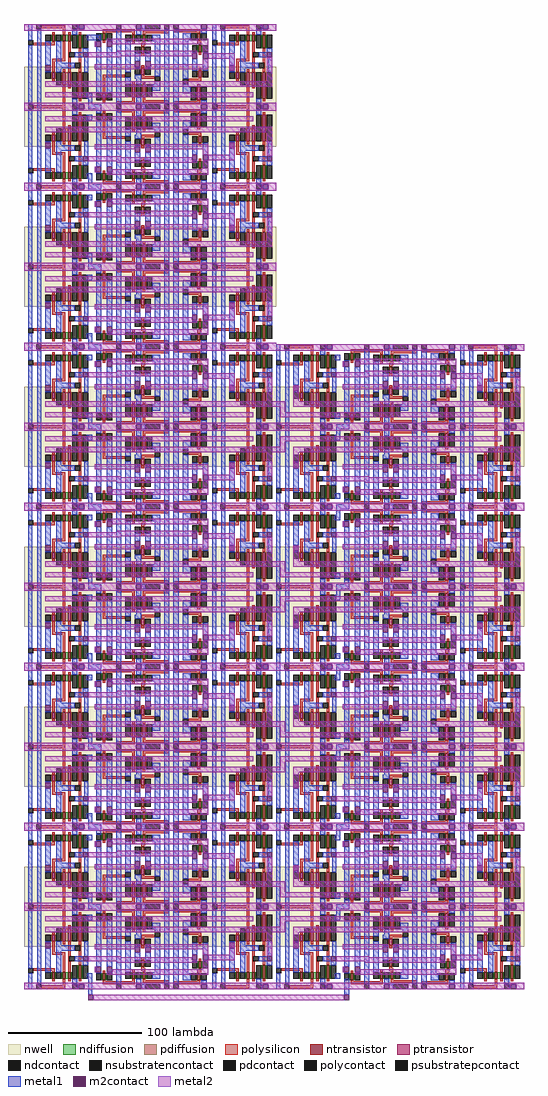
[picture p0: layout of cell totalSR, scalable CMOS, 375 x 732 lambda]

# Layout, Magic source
magic
tech scmos
<< metal1 >>
rect 48 -4 51 9
rect 240 -4 244 8
<< metal2 >>
rect 182 437 196 441
rect 192 433 196 437
rect 192 429 206 433
rect 192 411 206 415
rect 192 407 196 411
rect 182 403 196 407
rect 183 317 196 321
rect 192 313 196 317
rect 192 309 205 313
rect 192 291 206 295
rect 192 287 196 291
rect 182 283 196 287
rect 183 197 196 201
rect 192 193 196 197
rect 192 189 205 193
rect 192 171 205 175
rect 192 167 196 171
rect 183 163 196 167
rect 183 77 196 81
rect 192 73 196 77
rect 192 69 205 73
rect 192 51 204 55
rect 192 47 196 51
rect 184 43 196 47
rect 52 -8 240 -4
<< m2contact >>
rect 48 -8 52 -4
rect 240 -8 244 -4
use 12bitSR 12bitSR_0
transform 1 0 0 0 1 0
box 0 0 189 724
use 8bitSR 8bitSR_0
transform 1 0 186 0 1 0
box 0 0 189 484
<< end >>

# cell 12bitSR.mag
magic
tech scmos
<< metal1 >>
rect 49 712 58 716
rect 48 604 51 609
rect 48 600 58 604
rect 54 597 58 600
rect 48 484 51 489
rect 48 480 58 484
rect 54 477 58 480
rect 48 364 51 370
rect 48 360 58 364
rect 54 357 58 360
rect 48 244 51 249
rect 48 240 58 244
rect 54 237 58 240
rect 48 124 51 130
rect 48 120 58 124
rect 54 116 58 120
use SR2tiles SR2tiles_5
transform 1 0 0 0 1 600
box 0 0 189 124
use SR2tiles SR2tiles_4
transform 1 0 0 0 1 480
box 0 0 189 124
use SR2tiles SR2tiles_3
transform 1 0 0 0 1 360
box 0 0 189 124
use SR2tiles SR2tiles_2
transform 1 0 0 0 1 240
box 0 0 189 124
use SR2tiles SR2tiles_1
transform 1 0 0 0 1 120
box 0 0 189 124
use SR2tiles SR2tiles_0
transform 1 0 0 0 1 0
box 0 0 189 124
<< end >>

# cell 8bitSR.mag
magic
tech scmos
<< metal1 >>
rect 54 424 58 428
rect 48 420 58 424
rect 48 415 51 420
rect 54 364 58 368
rect 48 360 58 364
rect 48 352 51 360
rect 54 304 58 308
rect 48 300 58 304
rect 48 294 51 300
rect 54 244 58 248
rect 48 240 58 244
rect 48 235 51 240
rect 54 184 58 188
rect 48 180 58 184
rect 48 172 51 180
rect 54 124 58 128
rect 48 120 58 124
rect 48 112 51 120
rect 54 64 58 68
rect 48 60 58 64
rect 48 55 51 60
<< metal2 >>
rect 16 437 20 453
rect 16 391 20 407
rect 16 317 20 333
rect 16 271 20 287
rect 16 197 20 213
rect 16 151 20 167
rect 16 77 20 93
rect 16 31 20 47
use SRtile SRtile_7
transform 1 0 -9 0 -1 484
box 9 0 198 64
use SRtile SRtile_6
transform 1 0 -9 0 1 360
box 9 0 198 64
use SRtile SRtile_5
transform 1 0 -9 0 -1 364
box 9 0 198 64
use SRtile SRtile_4
transform 1 0 -9 0 1 240
box 9 0 198 64
use SRtile SRtile_3
transform 1 0 -9 0 -1 244
box 9 0 198 64
use SRtile SRtile_2
transform 1 0 -9 0 1 120
box 9 0 198 64
use SRtile SRtile_1
transform 1 0 -9 0 -1 124
box 9 0 198 64
use SRtile SRtile_0
transform 1 0 -9 0 1 0
box 9 0 198 64
<< end >>

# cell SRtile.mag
magic
tech scmos
<< metal1 >>
rect 56 52 60 56
rect 93 41 97 45
rect 92 38 97 41
rect 25 25 29 29
rect 78 15 82 20
rect 114 16 118 19
rect 121 15 125 19
rect 56 8 60 12
<< metal2 >>
rect 58 60 63 64
rect 59 59 63 60
rect 25 51 63 55
rect 146 51 181 55
rect 25 43 63 47
rect 146 43 195 47
rect 163 26 167 35
rect 57 21 63 25
rect 147 22 167 26
rect 191 25 195 43
rect 59 3 63 5
rect 58 0 63 3
<< m2contact >>
rect 53 21 57 25
rect 191 21 195 25
use datapathLatch datapathLatch_0
transform 1 0 10 0 1 0
box -1 0 50 64
use 3to1mux 3to1mux_0
transform 1 0 76 0 1 0
box -16 0 74 64
use datapathLatch datapathLatch_1
transform 1 0 148 0 1 0
box -1 0 50 64
<< labels >>
rlabel metal1 27 27 27 27 2 input
rlabel metal2 193 28 193 28 7 ouput
rlabel metal1 116 17 116 17 1 Reset_Shift
rlabel metal1 123 17 123 17 3 No_Shift
rlabel metal1 80 18 80 18 1 Shift_Right
rlabel metal2 60 1 60 1 1 Gnd
rlabel metal2 59 62 59 62 1 Vdd
<< end >>

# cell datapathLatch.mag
magic
tech scmos
<< nwell >>
rect -1 32 50 64
<< polysilicon >>
rect 6 61 30 63
rect 28 46 30 61
rect 40 56 42 58
rect 32 46 34 48
rect 20 41 22 43
rect 20 28 22 36
rect 28 34 30 36
rect 20 26 30 28
rect 6 14 22 16
rect 20 13 22 14
rect 28 13 30 26
rect 32 25 34 36
rect 40 33 42 36
rect 41 29 42 33
rect 32 21 33 25
rect 32 13 34 21
rect 40 18 42 29
rect 20 6 22 8
rect 28 3 30 8
rect 32 6 34 8
rect 40 6 42 8
rect 12 1 30 3
<< ndiffusion >>
rect 19 8 20 13
rect 22 8 23 13
rect 27 8 28 13
rect 30 8 32 13
rect 34 8 35 13
rect 39 8 40 18
rect 42 8 43 18
<< pdiffusion >>
rect 19 36 20 41
rect 22 36 23 41
rect 27 36 28 46
rect 30 36 32 46
rect 34 36 35 46
rect 39 36 40 56
rect 42 36 43 56
<< metal1 >>
rect 2 16 5 60
rect 2 0 5 12
rect 9 4 12 64
rect 39 60 40 64
rect 35 56 39 60
rect 15 35 19 36
rect 15 13 19 31
rect 23 33 27 36
rect 23 29 37 33
rect 23 13 27 29
rect 44 25 47 36
rect 37 21 47 25
rect 43 18 47 21
rect 35 4 39 8
rect 39 0 40 4
<< metal2 >>
rect -1 60 40 64
rect 44 60 50 64
rect -1 59 50 60
rect -1 4 50 5
rect -1 0 40 4
rect 44 0 50 4
<< ntransistor >>
rect 20 8 22 13
rect 28 8 30 13
rect 32 8 34 13
rect 40 8 42 18
<< ptransistor >>
rect 20 36 22 41
rect 28 36 30 46
rect 32 36 34 46
rect 40 36 42 56
<< polycontact >>
rect 2 60 6 64
rect 2 12 6 16
rect 37 29 41 33
rect 33 21 37 25
rect 8 0 12 4
<< ndcontact >>
rect 15 8 19 13
rect 23 8 27 13
rect 35 8 39 18
rect 43 8 47 18
<< pdcontact >>
rect 15 36 19 41
rect 23 36 27 46
rect 35 36 39 56
rect 43 36 47 56
<< m2contact >>
rect 40 60 44 64
rect 15 31 19 35
rect 40 0 44 4
<< psubstratepcontact >>
rect 35 0 39 4
<< nsubstratencontact >>
rect 35 60 39 64
<< labels >>
rlabel metal2 34 2 34 2 1 Gnd
rlabel metal1 11 21 11 21 1 Phi_b
rlabel metal1 3 22 3 22 1 Phi
rlabel metal2 31 61 31 61 1 Vdd
rlabel metal1 17 22 17 22 1 In
rlabel metal1 46 30 46 30 1 Out_b
<< end >>

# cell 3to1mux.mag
magic
tech scmos
<< nwell >>
rect -16 32 74 64
<< polysilicon >>
rect -8 57 -6 59
rect 2 58 16 60
rect 38 59 42 60
rect 14 55 16 58
rect 22 57 42 59
rect 45 58 65 60
rect 63 57 65 58
rect 22 55 24 57
rect -8 40 -6 52
rect 63 45 65 47
rect 14 43 16 45
rect 22 43 24 45
rect -8 38 9 40
rect 21 39 31 41
rect 56 41 66 43
rect 64 40 66 41
rect 21 38 23 39
rect 64 33 66 35
rect 21 31 23 33
rect 21 22 23 24
rect 64 21 66 23
rect 21 16 23 17
rect -8 12 -6 14
rect 14 13 16 15
rect 21 14 24 16
rect 64 15 66 16
rect 22 13 24 14
rect 63 13 66 15
rect 63 12 65 13
rect -8 6 -6 7
rect 14 6 16 8
rect -8 4 16 6
rect 22 7 24 8
rect 22 5 42 7
rect 63 6 65 7
rect 38 4 42 5
rect 45 4 65 6
<< ndiffusion >>
rect 20 17 21 22
rect 23 17 24 22
rect 63 16 64 21
rect 66 16 67 21
rect -9 7 -8 12
rect -6 7 -5 12
rect 13 8 14 13
rect 16 8 17 13
rect 21 8 22 13
rect 24 8 25 13
rect 62 7 63 12
rect 65 7 66 12
<< pdiffusion >>
rect -9 52 -8 57
rect -6 52 -5 57
rect 13 45 14 55
rect 16 45 17 55
rect 21 45 22 55
rect 24 45 25 55
rect 62 47 63 57
rect 65 47 66 57
rect 20 33 21 38
rect 23 33 24 38
rect 63 35 64 40
rect 66 35 67 40
<< metal1 >>
rect -13 17 -9 52
rect -13 12 -9 13
rect -5 17 -1 52
rect -5 12 -1 13
rect 2 4 6 60
rect 21 60 24 64
rect 17 55 21 60
rect 29 45 35 50
rect 9 40 13 45
rect 31 43 35 45
rect 9 13 13 36
rect 16 32 20 33
rect 16 22 20 28
rect 24 32 28 33
rect 24 22 28 28
rect 31 13 35 39
rect 29 8 35 13
rect 17 4 21 8
rect 38 4 42 60
rect 21 0 24 4
rect 45 4 49 60
rect 66 57 70 60
rect 52 47 58 52
rect 52 45 56 47
rect 52 12 56 41
rect 59 26 63 35
rect 59 21 63 22
rect 67 26 71 35
rect 67 21 71 22
rect 52 7 58 12
rect 66 4 70 7
<< metal2 >>
rect -15 60 17 64
rect 21 60 66 64
rect 70 60 73 64
rect -15 59 73 60
rect -14 51 71 55
rect -14 43 71 47
rect -14 32 20 34
rect -14 30 16 32
rect 24 32 71 34
rect 28 30 71 32
rect 67 26 71 30
rect -14 24 6 25
rect -14 22 59 24
rect -14 21 63 22
rect 3 20 63 21
rect 71 22 72 26
rect -14 13 -13 17
rect 67 15 71 22
rect -1 13 71 15
rect -5 11 71 13
rect -15 4 73 5
rect -15 0 17 4
rect 21 0 66 4
rect 70 0 73 4
<< ntransistor >>
rect 21 17 23 22
rect 64 16 66 21
rect -8 7 -6 12
rect 14 8 16 13
rect 22 8 24 13
rect 63 7 65 12
<< ptransistor >>
rect -8 52 -6 57
rect 14 45 16 55
rect 22 45 24 55
rect 63 47 65 57
rect 21 33 23 38
rect 64 35 66 40
<< polycontact >>
rect 2 60 6 64
rect 38 60 42 64
rect 45 60 49 64
rect 9 36 13 40
rect 31 39 35 43
rect 52 41 56 45
rect 2 0 6 4
rect 38 0 42 4
rect 45 0 49 4
<< ndcontact >>
rect 16 17 20 22
rect 24 17 28 22
rect 59 16 63 21
rect 67 16 71 21
rect -13 7 -9 12
rect -5 7 -1 12
rect 9 8 13 13
rect 17 8 21 13
rect 25 8 29 13
rect 58 7 62 12
rect 66 7 70 12
<< pdcontact >>
rect -13 52 -9 57
rect -5 52 -1 57
rect 9 45 13 55
rect 17 45 21 55
rect 25 45 29 55
rect 58 47 62 57
rect 66 47 70 57
rect 16 33 20 38
rect 24 33 28 38
rect 59 35 63 40
rect 67 35 71 40
<< m2contact >>
rect -13 13 -9 17
rect -5 13 -1 17
rect 17 60 21 64
rect 16 28 20 32
rect 24 28 28 32
rect 17 0 21 4
rect 66 60 70 64
rect 59 22 63 26
rect 67 22 71 26
rect 66 0 70 4
<< psubstratepcontact >>
rect 24 0 35 4
<< nsubstratencontact >>
rect 24 60 35 64
<< labels >>
rlabel metal2 -9 62 -9 62 5 Vdd
rlabel metal2 -9 2 -9 2 1 Gnd
rlabel metal2 -13 53 -13 53 7 Ex1
rlabel metal2 -13 45 -13 45 7 Ex2
rlabel metal2 -13 32 -13 32 7 In1
rlabel metal2 -13 23 -13 23 7 In2
rlabel metal2 -13 15 -13 15 7 In0
rlabel metal2 71 24 71 24 3 Out
rlabel polycontact 4 2 4 2 5 cntrl0
rlabel polycontact 40 2 40 2 5 cntrl1
rlabel polycontact 47 2 47 2 5 cntrl2
<< end >>

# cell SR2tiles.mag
magic
tech scmos
<< metal1 >>
rect 48 64 51 68
rect 48 60 58 64
rect 54 57 58 60
use SRtile SRtile_1
transform 1 0 -9 0 -1 124
box 9 0 198 64
use SRtile SRtile_0
transform 1 0 -9 0 1 0
box 9 0 198 64
<< end >>
